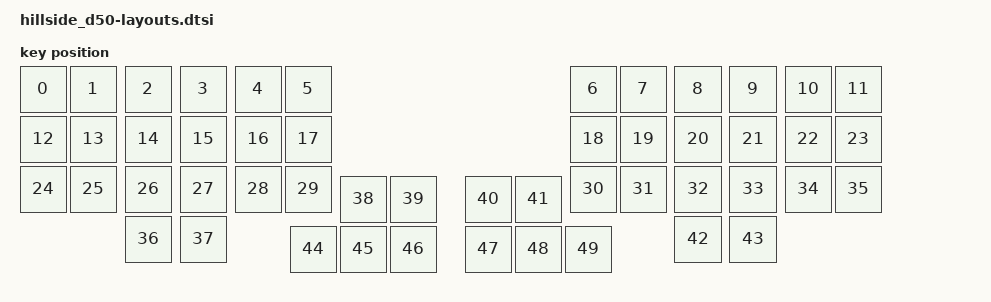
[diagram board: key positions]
#include <physical_layouts.dtsi>

/* Physical layout definition, shared by every Hillside D50 build.
 *
 * Included from hillside_d50_common.dtsi for firmware builds; `just draw-d50`
 * also passes this file to keymap-drawer for the physical position map.
 *
 * The kscan property is deliberately omitted, so each part falls back to its
 * chosen zmk,kscan: the real matrix on the halves, the mock kscan on the
 * dongle.
 *
 * Keep this the board's only layout: split peripherals apply the central's
 * layout index, so every part must enumerate layouts in the same order.
 *
 * keys is needed for Studio support.
 */

/ {
    physical_layout0: physical_layout_0 {
        compatible = "zmk,physical-layout";
        display-name = "Default Layout";
        transform = <&default_transform>; // Label of the matrix transform this layout uses
        keys  //                     w   h    x    y     rot    rx    ry
            = <&key_physical_attrs 100 100    0    0       0     0     0>
            , <&key_physical_attrs 100 100  100    0       0     0     0>
            , <&key_physical_attrs 100 100  210    0       0     0     0>
            , <&key_physical_attrs 100 100  320    0       0     0     0>
            , <&key_physical_attrs 100 100  430    0       0     0     0>
            , <&key_physical_attrs 100 100  530    0       0     0     0>
            , <&key_physical_attrs 100 100 1100    0       0     0     0>
            , <&key_physical_attrs 100 100 1200    0       0     0     0>
            , <&key_physical_attrs 100 100 1310    0       0     0     0>
            , <&key_physical_attrs 100 100 1420    0       0     0     0>
            , <&key_physical_attrs 100 100 1530    0       0     0     0>
            , <&key_physical_attrs 100 100 1630    0       0     0     0>


            , <&key_physical_attrs 100 100    0  100       0     0     0>
            , <&key_physical_attrs 100 100  100  100       0     0     0>
            , <&key_physical_attrs 100 100  210  100       0     0     0>
            , <&key_physical_attrs 100 100  320  100       0     0     0>
            , <&key_physical_attrs 100 100  430  100       0     0     0>
            , <&key_physical_attrs 100 100  530  100       0     0     0>
            , <&key_physical_attrs 100 100 1100  100       0     0     0>
            , <&key_physical_attrs 100 100 1200  100       0     0     0>
            , <&key_physical_attrs 100 100 1310  100       0     0     0>
            , <&key_physical_attrs 100 100 1420  100       0     0     0>
            , <&key_physical_attrs 100 100 1530  100       0     0     0>
            , <&key_physical_attrs 100 100 1630  100       0     0     0>


            , <&key_physical_attrs 100 100    0  200       0     0     0>
            , <&key_physical_attrs 100 100  100  200       0     0     0>
            , <&key_physical_attrs 100 100  210  200       0     0     0>
            , <&key_physical_attrs 100 100  320  200       0     0     0>
            , <&key_physical_attrs 100 100  430  200       0     0     0>
            , <&key_physical_attrs 100 100  530  200       0     0     0>

            , <&key_physical_attrs 100 100 1100  200       0     0     0>
            , <&key_physical_attrs 100 100 1200  200       0     0     0>
            , <&key_physical_attrs 100 100 1310  200       0     0     0>
            , <&key_physical_attrs 100 100 1420  200       0     0     0>
            , <&key_physical_attrs 100 100 1530  200       0     0     0>
            , <&key_physical_attrs 100 100 1630  200       0     0     0>


            , <&key_physical_attrs 100 100  210  300       0     0     0>
            , <&key_physical_attrs 100 100  320  300       0     0     0>

            , <&key_physical_attrs 100 100  640  220       0     0     0>
            , <&key_physical_attrs 100 100  740  220       0     0     0>

            , <&key_physical_attrs 100 100  890  220       0     0     0>
            , <&key_physical_attrs 100 100  990  220       0     0     0>

            , <&key_physical_attrs 100 100 1310  300       0     0     0>
            , <&key_physical_attrs 100 100 1420  300       0     0     0>

            , <&key_physical_attrs 100 100  540  320       0     0     0>
            , <&key_physical_attrs 100 100  640  320       0     0     0>
            , <&key_physical_attrs 100 100  740  320       0     0     0>

            , <&key_physical_attrs 100 100  890  320       0     0     0>
            , <&key_physical_attrs 100 100  990  320       0     0     0>
            , <&key_physical_attrs 100 100 1090  320       0     0     0>
            ;
    };
};
